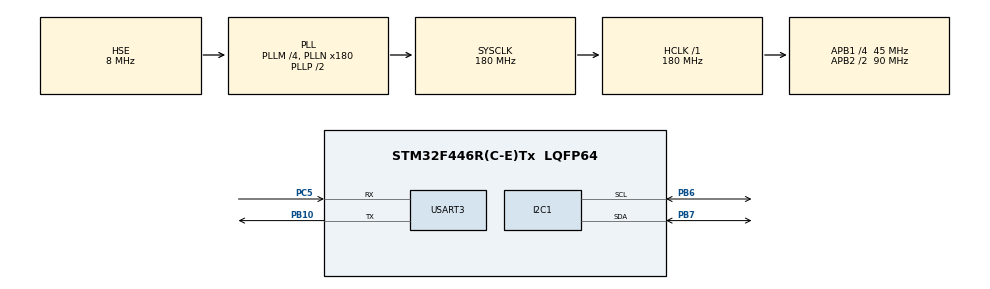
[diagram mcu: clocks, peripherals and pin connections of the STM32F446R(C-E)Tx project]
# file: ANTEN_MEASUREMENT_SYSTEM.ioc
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Mcu.Family=STM32F4
Mcu.Name=STM32F446R(C-E)Tx
Mcu.Package=LQFP64
NVIC.PriorityGroup=NVIC_PRIORITYGROUP_4
NVIC.USART3_IRQn=true\:0\:0\:false\:false\:true\:true\:true
PB10.Mode=Asynchronous
PB10.Signal=USART3_TX
PB6.Mode=I2C
PB6.Signal=I2C1_SCL
PB7.Mode=I2C
PB7.Signal=I2C1_SDA
PC5.Mode=Asynchronous
PC5.Signal=USART3_RX
PH0-OSC_IN.Mode=HSE-External-Oscillator
PH0-OSC_IN.Signal=RCC_OSC_IN
PH1-OSC_OUT.Mode=HSE-External-Oscillator
PH1-OSC_OUT.Signal=RCC_OSC_OUT
ProjectManager.HeapSize=0x200
ProjectManager.StackSize=0x400
ProjectManager.TargetToolchain=STM32CubeIDE
RCC.AHBFreq_Value=180000000
RCC.APB1CLKDivider=RCC_HCLK_DIV4
RCC.APB1Freq_Value=45000000
RCC.APB1TimFreq_Value=90000000
RCC.APB2CLKDivider=RCC_HCLK_DIV2
RCC.APB2Freq_Value=90000000
RCC.APB2TimFreq_Value=180000000
RCC.CortexFreq_Value=180000000
RCC.HCLKFreq_Value=180000000
RCC.HSE_VALUE=8000000
RCC.PLLM=4
RCC.PLLN=180
RCC.PLLSourceVirtual=RCC_PLLSOURCE_HSE
RCC.SYSCLKFreq_VALUE=180000000
RCC.SYSCLKSource=RCC_SYSCLKSOURCE_PLLCLK
RCC.USBFreq_Value=180000000
RCC.VCOOutputFreq_Value=360000000
USART3.VirtualMode=VM_ASYNC
board=custom

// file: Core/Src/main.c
/* USER CODE BEGIN Header */
/**
  ******************************************************************************
  * @file           : main.c
  * @brief          : Main program body
  ******************************************************************************
  * @attention
  *
  * Copyright (c) 2022 STMicroelectronics.
  * All rights reserved.
  *
  * This software is licensed under terms that can be found in the LICENSE file
  * in the root directory of this software component.
  * If no LICENSE file comes with this software, it is provided AS-IS.
  *
  ******************************************************************************
  */
/* USER CODE END Header */
#include "main.h"

/* USER CODE BEGIN Includes */
#include "ssd1306.h"
#include "ssd1306_fonts.h"
/* USER CODE END Includes */

/* USER CODE BEGIN PTD */
char GSM_AT_Send(char *Cmd, char CmdSize, char *rData, char RetSize, char trial);
/* USER CODE END PTD */

I2C_HandleTypeDef hi2c1;

UART_HandleTypeDef huart3;

/* USER CODE BEGIN PV */
char Uart_Data[255];
char returnData[25];
char Rx_Cnt=0;
char Rx_Flag=0;
char *ptr;
/* USER CODE END PV */

void SystemClock_Config(void);
static void MX_GPIO_Init(void);
static void MX_I2C1_Init(void);
static void MX_USART3_UART_Init(void);

int main(void)
{

  /* MCU Configuration--------------------------------------------------------*/

  /* Reset of all peripherals, Initializes the Flash interface and the Systick. */
  HAL_Init();

  /* Configure the system clock */
  SystemClock_Config();

  /* Initialize all configured peripherals */
  MX_GPIO_Init();
  MX_I2C1_Init();
  MX_USART3_UART_Init();
  /* USER CODE BEGIN 2 */
__HAL_UART_ENABLE_IT(&huart3,UART_IT_RXNE);

  uint16_t addr;
  for(addr=1;addr<0xFF;addr++){
	  if(HAL_I2C_IsDeviceReady(&hi2c1, addr<<1, 3, 100)==HAL_OK){
		  break;
	  }

  }

  /* USER CODE END 2 */

  /* Infinite loop */
  while (1)
  {

    /* USER CODE BEGIN 3 */
	    HAL_Delay(3000);
	    GSM_AT_Send("AT\r\n", 4, "\r\nOK\r\n", 6, 5);//AT Komutuna ok yanıtı alabliyoruz
	    HAL_Delay(200);
	    GSM_AT_Send("AT+CSQ\r\n", 8, "\r\n+CSQ: 20,99\r\n\r\nOK\r\n", 21, 5);// Bu kısımda gönderilen CSQ komutuna karşı cevap alınamıyor, sistem düşündüğümüz gibi değil mi acaba?
	    HAL_Delay(500);
  }
  /* USER CODE END 3 */
}

void SystemClock_Config(void)
{
  RCC_OscInitTypeDef RCC_OscInitStruct = {0};
  RCC_ClkInitTypeDef RCC_ClkInitStruct = {0};

  /** Configure the main internal regulator output voltage
  */
  __HAL_RCC_PWR_CLK_ENABLE();
  __HAL_PWR_VOLTAGESCALING_CONFIG(PWR_REGULATOR_VOLTAGE_SCALE1);
  /** Initializes the RCC Oscillators according to the specified parameters
  * in the RCC_OscInitTypeDef structure.
  */
  RCC_OscInitStruct.OscillatorType = RCC_OSCILLATORTYPE_HSE;
  RCC_OscInitStruct.HSEState = RCC_HSE_ON;
  RCC_OscInitStruct.PLL.PLLState = RCC_PLL_ON;
  RCC_OscInitStruct.PLL.PLLSource = RCC_PLLSOURCE_HSE;
  RCC_OscInitStruct.PLL.PLLM = 4;
  RCC_OscInitStruct.PLL.PLLN = 180;
  RCC_OscInitStruct.PLL.PLLP = RCC_PLLP_DIV2;
  RCC_OscInitStruct.PLL.PLLQ = 2;
  RCC_OscInitStruct.PLL.PLLR = 2;
  if (HAL_RCC_OscConfig(&RCC_OscInitStruct) != HAL_OK)
  {
    Error_Handler();
  }
  /** Activate the Over-Drive mode
  */
  if (HAL_PWREx_EnableOverDrive() != HAL_OK)
  {
    Error_Handler();
  }
  /** Initializes the CPU, AHB and APB buses clocks
  */
  RCC_ClkInitStruct.ClockType = RCC_CLOCKTYPE_HCLK|RCC_CLOCKTYPE_SYSCLK
                              |RCC_CLOCKTYPE_PCLK1|RCC_CLOCKTYPE_PCLK2;
  RCC_ClkInitStruct.SYSCLKSource = RCC_SYSCLKSOURCE_PLLCLK;
  RCC_ClkInitStruct.AHBCLKDivider = RCC_SYSCLK_DIV1;
  RCC_ClkInitStruct.APB1CLKDivider = RCC_HCLK_DIV4;
  RCC_ClkInitStruct.APB2CLKDivider = RCC_HCLK_DIV2;

  if (HAL_RCC_ClockConfig(&RCC_ClkInitStruct, FLASH_LATENCY_5) != HAL_OK)
  {
    Error_Handler();
  }
}

static void MX_I2C1_Init(void)
{

  hi2c1.Instance = I2C1;
  hi2c1.Init.ClockSpeed = 100000;
  hi2c1.Init.DutyCycle = I2C_DUTYCYCLE_2;
  hi2c1.Init.OwnAddress1 = 0;
  hi2c1.Init.AddressingMode = I2C_ADDRESSINGMODE_7BIT;
  hi2c1.Init.DualAddressMode = I2C_DUALADDRESS_DISABLE;
  hi2c1.Init.OwnAddress2 = 0;
  hi2c1.Init.GeneralCallMode = I2C_GENERALCALL_DISABLE;
  hi2c1.Init.NoStretchMode = I2C_NOSTRETCH_DISABLE;
  if (HAL_I2C_Init(&hi2c1) != HAL_OK)
  {
    Error_Handler();
  }

}

static void MX_USART3_UART_Init(void)
{

  huart3.Instance = USART3;
  huart3.Init.BaudRate = 115200;
  huart3.Init.WordLength = UART_WORDLENGTH_8B;
  huart3.Init.StopBits = UART_STOPBITS_1;
  huart3.Init.Parity = UART_PARITY_NONE;
  huart3.Init.Mode = UART_MODE_TX_RX;
  huart3.Init.HwFlowCtl = UART_HWCONTROL_NONE;
  huart3.Init.OverSampling = UART_OVERSAMPLING_16;
  if (HAL_UART_Init(&huart3) != HAL_OK)
  {
    Error_Handler();
  }

}

static void MX_GPIO_Init(void)
{

  /* GPIO Ports Clock Enable */
  __HAL_RCC_GPIOH_CLK_ENABLE();
  __HAL_RCC_GPIOC_CLK_ENABLE();
  __HAL_RCC_GPIOB_CLK_ENABLE();

}

/* USER CODE BEGIN 4 */
char GSM_AT_Send(char *Cmd, char CmdSize, char *rData, char RetSize, char trial)
{
    char cnt=0;

	memset(returnData,0x00,sizeof(returnData));
	memcpy(returnData,rData,RetSize);

    while(cnt<trial)
    {

    	Rx_Cnt = 0;
        memset(Uart_Data,0x00,sizeof(Uart_Data));
        HAL_UART_Transmit(&huart3, Cmd, CmdSize, 50);
        HAL_Delay(500);
        if(Rx_Flag)
        {
        	Rx_Flag = 0;
        	return 0;
        }
    	cnt++;
    }

    return 1;
}

/* USER CODE END 4 */

void Error_Handler(void)
{
  __disable_irq();
  while (1)
  {
  }
}
